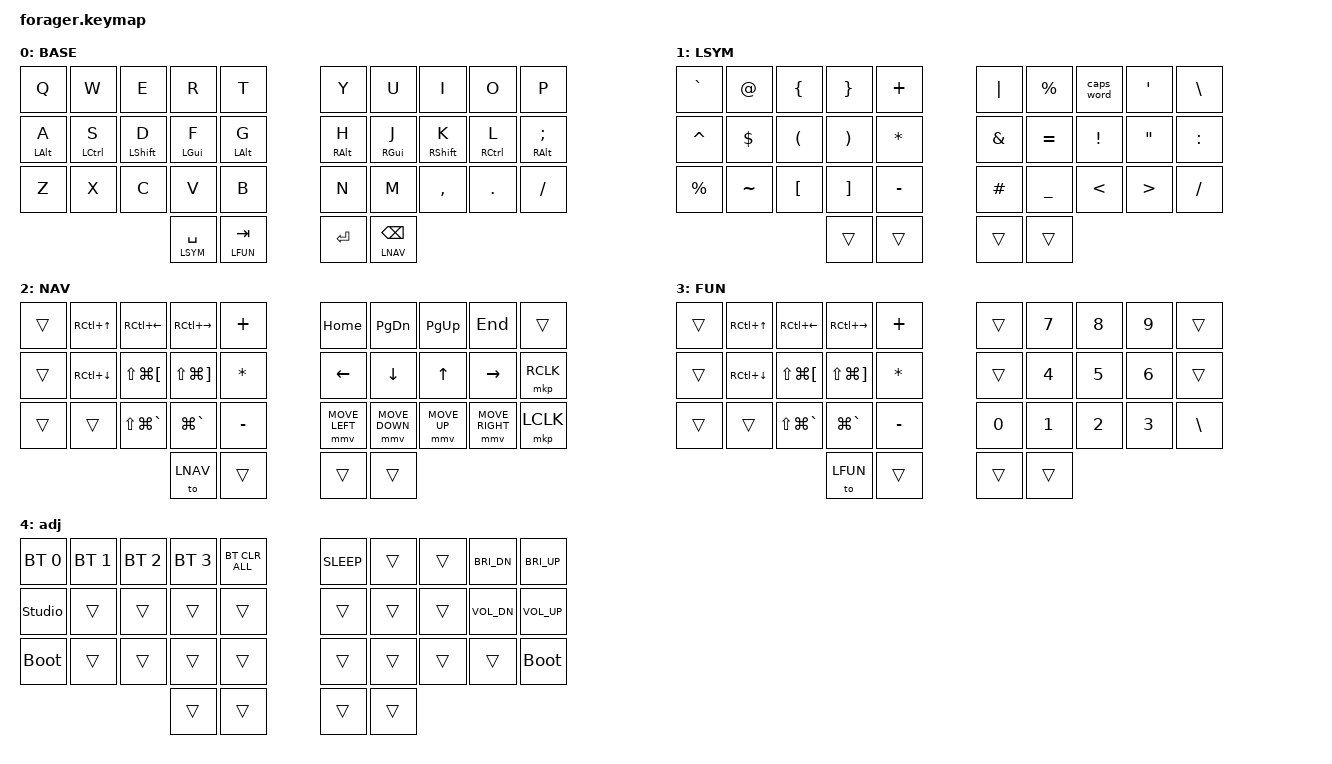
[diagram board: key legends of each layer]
#include <behaviors.dtsi>
#include <dt-bindings/zmk/keys.h>
#include <dt-bindings/zmk/bt.h>
#include <dt-bindings/zmk/outputs.h>
#include <dt-bindings/zmk/pointing.h>

#define BASE 0
#define LSYM  1
#define LNAV  2
#define LFUN  3
#define ADJ  4

&mt {
  quick-tap-ms = <100>;
  global-quick-tap;
  flavor = "tap-preferred";
  tapping-term-ms = <170>;
};

/ {
    combos {
            compatible = "zmk,combos";
            combo_esc {
                timeout-ms = <50>;
                key-positions = <22 23>;
                bindings = <&kp ESC>;
            };
            combo_del {
                timeout-ms = <50>;
                key-positions = <26 27>;
                bindings = <&kp DEL>;
            };
            combo_tvp {
                timeout-ms = <100>;
                key-positions = <1 2 3>;
                bindings = <&tog ADJ>;
            };
            combo_scrolup {
                timeout-ms = <50>;
                key-positions = <16 17>;
                bindings = <&msc SCRL_UP>;
                layers = <LNAV>;
            };
            combo_scroldown {
                timeout-ms = <50>;
                key-positions = <26 27>;
                bindings = <&msc SCRL_DOWN>;
                layers = <LNAV>;
            };

    };
    behaviors {
      hm: homerow_mods {
        compatible = "zmk,behavior-hold-tap";
        label = "HOMEROW_MODS";
        #binding-cells = <2>;
        tapping-term-ms = <220>;
        quick_tap_ms = <200>;
        flavor = "balanced";
        bindings = <&kp>, <&kp>;
      };

    // using &hlt instead of &lt. It enables quick tap
      hlt: homerow_layers {
        compatible = "zmk,behavior-hold-tap";
        label = "HOMEROW_LAYERS";
        #binding-cells = <2>;
        tapping-term-ms = <220>;
        quick_tap_ms = <200>;
        flavor = "balanced";
        bindings = <&mo>, <&kp>;
      };
    };

    keymap {
        compatible = "zmk,keymap";

        base_layer {
        label= "BASE";
        bindings = <

                &kp Q       &kp W         &kp E                &kp R                 &kp T              &kp Y         &kp U          &kp I        &kp O         &kp P
                &hm LALT A  &hm LCTRL S   &hm LSHIFT D         &hm LGUI F            &hm LALT G         &hm RALT H    &hm RGUI J     &hm RSHIFT K &hm RCTRL L   &hm RALT SEMI
                &kp Z       &kp X         &kp C                &kp V                 &kp B              &kp N         &kp M          &kp COMMA    &kp DOT       &kp FSLH
                                                               &hlt LSYM SPACE       &hlt LFUN TAB      &kp ENTER     &hlt LNAV BSPC
                        >;
                };


        sim_layer {
        label= "LSYM";
        bindings = <
                &kp GRAVE   &kp AT        &kp LEFT_BRACE       &kp RIGHT_BRACE       &kp PLUS                 &kp PIPE      &kp PERCENT    &caps_word    &kp SQT       &kp BSLH
                &kp CARET   &kp DOLLAR    &kp LEFT_PARENTHESIS &kp RIGHT_PARENTHESIS &kp ASTERISK             &kp AMPERSAND &kp EQUAL      &kp EXCL      &kp DQT       &kp COLON
                &kp PERCENT &kp TILDE     &kp LEFT_BRACKET     &kp RIGHT_BRACKET     &kp MINUS                &kp HASH      &kp UNDERSCORE &kp LESS_THAN &kp GREATER_THAN &kp FSLH
                                                               &trans                &trans                   &trans      &trans
                        >;
                };


        nav_layer {
        label= "NAV";
        bindings = <

                &trans      &kp RC(UP)    &kp RC(LEFT)         &kp RC(RIGHT)         &kp PLUS                 &kp HOME        &kp PG_DN    &kp PG_UP      &kp END          &trans
                &trans      &kp RC(DOWN)  &kp LS(LG(LBKT))     &kp LS(LG(RBKT))      &kp ASTERISK             &kp LEFT        &kp DOWN     &kp UP         &kp RIGHT        &mkp RCLK
                &trans      &trans        &kp LS(LG(GRAVE))    &kp LG(GRAVE)         &kp MINUS                &mmv MOVE_LEFT  &mmv MOVE_DOWN &mmv MOVE_UP &mmv MOVE_RIGHT  &mkp LCLK
                                                               &to LNAV              &trans                   &trans          &trans
                        >;
                };





        function_layer {
        label= "FUN";
        bindings = <

                &trans      &kp RC(UP)    &kp RC(LEFT)         &kp RC(RIGHT)         &kp PLUS                 &trans        &kp N7      &kp N8       &kp N9      &trans
                &trans      &kp RC(DOWN)  &kp LS(LG(LBKT))     &kp LS(LG(RBKT))      &kp ASTERISK             &trans        &kp N4      &kp N5       &kp N6      &trans
                &trans      &trans        &kp LS(LG(GRAVE))    &kp LG(GRAVE)         &kp MINUS                &kp N0        &kp N1      &kp N2       &kp N3      &kp BSLH
                                                               &to LFUN              &trans                   &trans        &trans
                        >;
                };


        adj {
            bindings = <
            &bt BT_SEL 0    &bt BT_SEL 1    &bt BT_SEL 2    &bt BT_SEL 3    &bt BT_CLR_ALL                                  &kp C_SLEEP     &trans          &trans          &kp C_BRI_DN    &kp C_BRI_UP
            &studio_unlock  &trans          &trans          &trans          &trans                                          &trans          &trans          &trans          &kp C_VOL_DN    &kp C_VOL_UP
            &bootloader     &trans          &trans          &trans          &trans                                          &trans          &trans          &trans          &trans          &bootloader
                                                                            &trans          &trans          &trans          &trans
            >;
        };
    };
};

